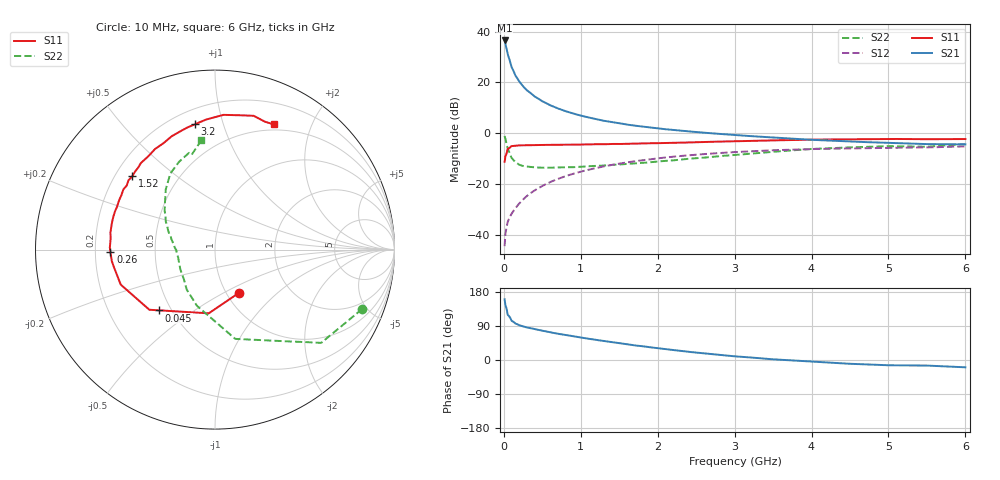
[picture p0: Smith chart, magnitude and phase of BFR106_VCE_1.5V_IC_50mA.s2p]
! Infineon Technologies  Discrete & RF Semiconductors
! BFR106
! VCE =  1.5 V,  IC =  50 mA
! Common Emitter S-Parameters:  Nov 2015
# GHz  S  MA  R  50
!  f  S11  S21  S12  S22
! GHz  MAG  ANG  MAG  ANG  MAG  ANG  MAG  ANG
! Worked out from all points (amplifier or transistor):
!   210 points, 10 MHz to 6 GHz, reference 50 ohm
!   highest |S21| = 36.5 dB at 10 MHz (marker M1)
!   |S21| within 3 dB of that: start of sweep to 32.96 MHz
!   unconditionally stable (mu >= 1): 223.5 MHz to 2.995 GHz; 3.036 GHz to 3.187 GHz; 4.413 GHz to end of sweep
!   at 185 MHz: K = 0.96, MSG = 24.7 dB, |S12| = -28.2 dB
!   at 1.52 GHz: K = 1.06, MAG = 6.3 dB, |S12| = -11.8 dB
!   at 6 GHz: K = 1.01, MAG = -0.3 dB, |S12| = -5.2 dB
!   S11 on the Smith chart (normalised r, x): 10 MHz: 1.14, -0.60; 45 MHz: 0.43, -0.37; 260 MHz: 0.26, -0.01; 1.52 GHz: 0.27, +0.36; 3.2 GHz: 0.29, +0.81; 6 GHz: 0.43, +1.49
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0.01  0.2756 -61.3  67.2 160.2  0.006 77.6  0.8843 -22.0
0.02  0.3568 -95.6  58.39 145.1  0.0104 67.9  0.7874 -41.3
0.045  0.4594 -132.5  38.86 125.6  0.0167 57.9  0.5369 -69.0
0.05  0.4961 -137.5  35.83 119.4  0.018 56.8  0.5101 -77.2
0.1  0.5602 -159.6  20.17 103.6  0.026 59.0  0.3291 -107.7
0.15  0.5701 -169.1  13.74 96.2  0.0333 63.1  0.2728 -125.3
0.2  0.5787 -173.8  10.47 91.8  0.0415 66.5  0.2405 -135.9
0.24  0.581 -177.0  8.793 89.2  0.048 67.8  0.2294 -143.2
0.26  0.5826 -178.5  8.104 87.9  0.0514 68.4  0.2259 -146.2
0.3  0.5861 178.9  7.016 85.8  0.0584 69.3  0.2218 -150.7
0.4  0.5847 174.0  5.314 81.3  0.075 70.2  0.214 -159.4
0.5  0.5903 170.7  4.269 77.3  0.0919 69.8  0.21 -165.5
0.6  0.5927 166.6  3.581 73.1  0.1091 69.0  0.2099 -169.2
0.7  0.5952 162.7  3.098 69.3  0.126 68.4  0.213 -172.7
1.02  0.6011 152.1  2.192 58.8  0.1789 63.7  0.2202 178.8
1.52  0.6167 138.3  1.561 43.9  0.2559 55.2  0.2441 168.5
2.02  0.6402 125.0  1.24 30.8  0.3239 46.4  0.2803 158.4
3.1  0.702 100.9  0.903 8.3  0.4333 28.2  0.3848 136.4
3.2  0.707 99.1  0.882 6.8  0.4405 26.6  0.3963 134.4
4.1  0.7531 85.1  0.733 -5.3  0.4913 13.3  0.4982 118.7
5.1  0.7731 72.9  0.639 -14.1  0.5185 1.8  0.5554 104.8
6  0.7707 64.8  0.605 -19.3  0.5525 -7.0  0.6144 97.1
